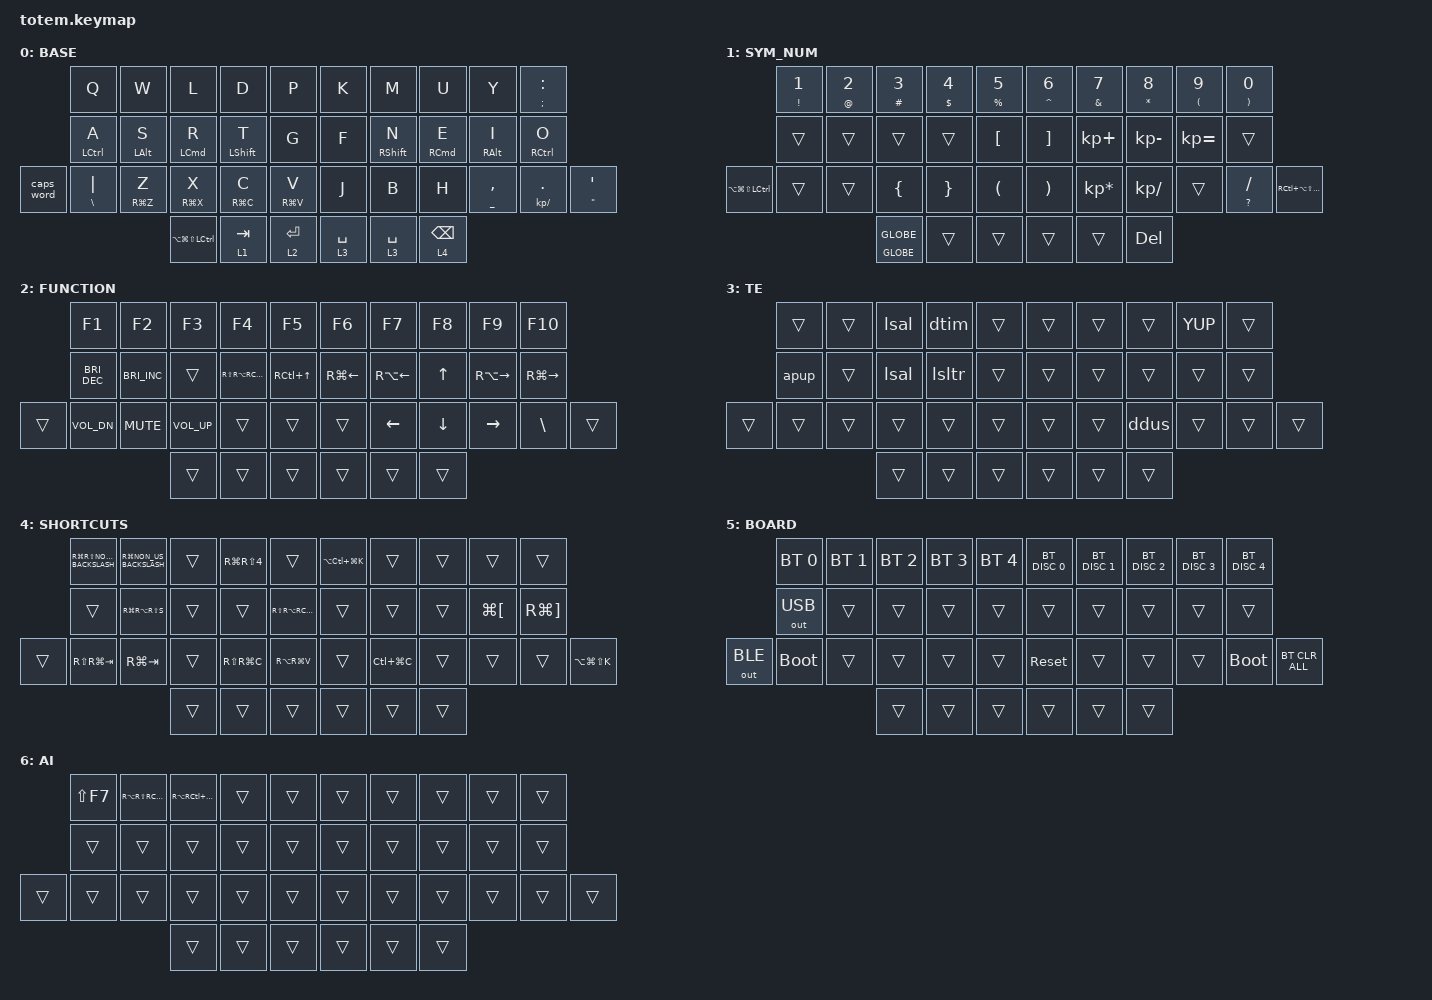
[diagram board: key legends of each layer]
//
//                                                        ▀▀▀▀▀     ▀▀▀▀▀          ▀▀█▀▀
//                                                        ▄▀▀▀▄  ▄  ▄▀▀▀▄  ▄  ▄▀▀▀▄  █  ▄▀▀▀▄
//                                                        █   █  █  █   █  █  █   █  █  █   █
//                                                         ▀▀▀   █   ▀▀▀   █   ▀▀▀   ▀   ▀▀▀
//                                                               █      ▄▄▄█▄▄▄    █   █  
//                                                               ▀      █  █  █     █▄█
//                                                             ▀▀▀▀▀    █  █  █      ▀
//                                                                      ▀  ▀  ▀
//
// ▄▄▄▄▄▄▄▄▄▄▄▄▄▄▄▄▄▄▄▄▄▄▄▄▄▄▄▄▄▄▄▄▄▄▄▄▄▄▄▄▄▄▄▄▄▄▄▄▄▄▄▄▄▄▄▄▄▄▄▄▄▄▄▄▄▄▄▄▄▄▄▄▄▄▄▄▄▄▄▄▄▄▄▄▄▄▄▄▄▄▄▄▄▄▄▄▄▄▄▄▄▄▄▄▄▄▄▄▄▄▄▄▄▄▄▄▄▄▄▄▄▄▄▄▄▄▄▄▄▄▄▄▄▄▄▄▄▄▄▄▄▄▄▄▄▄▄▄▄

#include <behaviors.dtsi>
#include <dt-bindings/zmk/bt.h>
#include <dt-bindings/zmk/keys.h>
#include <dt-bindings/zmk/outputs.h>

#define BASE 0
#define NAV  1
#define SYM  2
#define ADJ  3
#define TVP1 4
#define TVP2 5

&mt {
};

&lt { tapping-term-ms = <200>; };

/ {
    combos {
        compatible = "zmk,combos";

        combo_esc {
            timeout-ms = <50>;
            key-positions = <0 1>;
            bindings = <&kp ESC>;
        };

        AI {
            bindings = <&mo 6>;
            key-positions = <36 37>;
        };

        Board {
            bindings = <&mo 5>;
            key-positions = <34 33>;
        };
    };

    macros {
        YUP: YUP {
            compatible = "zmk,behavior-macro";
            #binding-cells = <0>;
            bindings = <&kp COLON &kp Y &kp U &kp P>;
            label = "YUP";
        };

        apup: apup {
            compatible = "zmk,behavior-macro";
            #binding-cells = <0>;
            bindings = <&kp COLON &kp A &kp P &kp U &kp P>;
            label = "APUP";
        };

        ddus: ddus {
            compatible = "zmk,behavior-macro";
            #binding-cells = <0>;
            bindings = <&kp D &kp D &kp U &kp S>;
            label = "DDUS";
        };

        lsltr: lsltr {
            compatible = "zmk,behavior-macro";
            #binding-cells = <0>;
            bindings = <&kp COLON &kp L &kp T>;
            label = "LSLTR";
        };

        dtim: dtim {
            compatible = "zmk,behavior-macro";
            #binding-cells = <0>;
            bindings = <&kp D &kp T &kp I &kp M>;
            label = "DTIM";
        };

        lsal: lsal {
            compatible = "zmk,behavior-macro";
            #binding-cells = <0>;
            bindings = <&kp COLON &kp L &kp S>;
            label = "LSAL";
        };

        nextapp: nextapp {
            compatible = "zmk,behavior-macro";
            #binding-cells = <0>;
            bindings = <&kp RIGHT_COMMAND &kp TAB>;
            label = "NEXTAPP";
            wait-ms = <0>;
            tap-ms = <200>;
        };

        prevapp: prevapp {
            compatible = "zmk,behavior-macro";
            #binding-cells = <0>;
            bindings = <&kp RIGHT_COMMAND &kp RS(TAB)>;
            label = "PREVAPP";
            wait-ms = <0>;
            tap-ms = <200>;
        };
    };

    behaviors {
        caps_word: caps_word {
            compatible = "zmk,behavior-caps-word";
            label = "CAPS_WORD";
            #binding-cells = <0>;
            continue-list = <UNDERSCORE MINUS BACKSPACE DELETE>;
        };

        longpress: longpress {
            compatible = "zmk,behavior-hold-tap";
            label = "LONGPRESS";
            bindings = <&kp>, <&kp>;

            #binding-cells = <2>;
            tapping-term-ms = <300>;
            quick-tap-ms = <0>;
            flavor = "tap-preferred";
            require-prior-idle-ms = <0>;
        };

        templayer: templayer {
            compatible = "zmk,behavior-toggle-layer";
            label = "TEMPLAYER";
            #binding-cells = <1>;
            toggle-mode = "off";
        };

        HMShiftR: HMShiftR {
            compatible = "zmk,behavior-hold-tap";
            label = "HMSHIFTR";
            bindings = <&kp>, <&kp>;

            #binding-cells = <2>;
            tapping-term-ms = <250>;
            hold-trigger-key-positions = <13 0 1 2 0 1 2 3 10 11 12 13 20 21 22 23 24 32 4 14 25 33 34>;
            hold-while-undecided;
            hold-trigger-on-release;
            flavor = "balanced";
        };

        HMShiftL: HMShiftL {
            compatible = "zmk,behavior-hold-tap";
            label = "HMSHIFTL";
            bindings = <&kp>, <&kp>;

            #binding-cells = <2>;
            tapping-term-ms = <250>;
            hold-while-undecided;
            hold-trigger-on-release;
            hold-trigger-key-positions = <5 6 7 8 9 15 16 17 18 19 26 27 28 29 30 31 35 36 37>;
            flavor = "balanced";
        };

        HMR: HMR {
            compatible = "zmk,behavior-hold-tap";
            label = "HMR";
            bindings = <&kp>, <&kp>;

            #binding-cells = <2>;
            tapping-term-ms = <250>;
            hold-trigger-key-positions = <13 0 1 2 0 1 2 3 10 11 12 13 20 21 22 23 24 32 4 14 25 33 34>;
            hold-while-undecided;
            hold-trigger-on-release;
            flavor = "balanced";
        };

        HML: HML {
            compatible = "zmk,behavior-hold-tap";
            label = "HML";
            bindings = <&kp>, <&kp>;

            #binding-cells = <2>;
            tapping-term-ms = <250>;
            hold-while-undecided;
            hold-trigger-on-release;
            hold-trigger-key-positions = <5 6 7 8 9 15 16 17 18 19 26 27 28 29 30 31 35 36 37>;
            flavor = "balanced";
        };

        TapTickTilde: TapTickTilde {
            compatible = "zmk,behavior-tap-dance";
            label = "TAPTICKTILDE";
            #binding-cells = <0>;
            bindings = <&kp TILDE>, <&kp GRAVE>;
        };

        lt_repeat: lt_repeat {
            compatible = "zmk,behavior-hold-tap";
            label = "LT_REPEAT";
            bindings = <&mo>, <&kp>;

            #binding-cells = <2>;
            tapping-term-ms = <200>;
            quick-tap-ms = <200>;
            flavor = "tap-preferred";
        };
    };

    keymap {
        compatible = "zmk,keymap";

        // ▄▄▄▄▄▄▄▄▄▄▄▄▄▄▄▄▄▄▄▄▄▄▄▄▄▄▄▄▄▄▄▄▄▄▄▄▄▄▄▄▄▄▄▄▄▄▄▄▄▄▄▄▄▄▄▄▄▄▄▄▄▄▄▄▄▄▄▄▄▄▄▄▄▄▄▄▄▄▄▄▄▄▄▄▄▄▄▄▄▄▄▄▄▄▄▄▄▄▄▄▄▄▄▄▄▄▄▄▄▄▄▄▄▄▄▄▄▄▄▄▄▄▄▄▄▄▄▄▄▄▄▄▄▄▄▄▄▄▄▄▄▄▄▄▄▄▄▄▄

        base_layer {
            // ┏━━━━━━━━━━━━━━━━━━━━━━━━━━━━━━━━━━━━━━━┓

            label = "BASE";

            // ┗━━━━━━━━━━━━━━━━━━━━━━━━━━━━━━━━━━━━━━━┛
            //             ┏━━━━━━━━━━━┳━━━━━━━━━━━┳━━━━━━━━━━━┳━━━━━━━━━━━┳━━━━━━━━━━━┓   ┏━━━━━━━━━━━┳━━━━━━━━━━━┳━━━━━━━━━━━┳━━━━━━━━━━━┳━━━━━━━━━━━┓
            //             ┃     Q     ┃     W     ┃     F     ┃     P     ┃     G     ┃   ┃     J     ┃     L     ┃     U     ┃     Y     ┃     ;     ┃
            //             ┣━━━━━━━━━━━╋━━━━━━━━━━━╋━━━━━━━━━━━╋━━━━━━━━━━━╋━━━━━━━━━━━┫   ┣━━━━━━━━━━━╋━━━━━━━━━━━╋━━━━━━━━━━━╋━━━━━━━━━━━╋━━━━━━━━━━━┫
            //             ┃     A     ┃     R     ┃     S     ┃     T     ┃     D     ┃   ┃     H     ┃     N     ┃     E     ┃     I     ┃     O     ┃
            // ┏━━━━━━━━━━━╋━━━━━━━━━━━╋━━━━━━━━━━━╋━━━━━━━━━━━╋━━━━━━━━━━━╋━━━━━━━━━━━┫   ┣━━━━━━━━━━━╋━━━━━━━━━━━╋━━━━━━━━━━━╋━━━━━━━━━━━╋━━━━━━━━━━━╋━━━━━━━━━━━┓
            // ┃     Q     ┃     Z     ┃     X     ┃     C     ┃     V     ┃     B     ┃   ┃     K     ┃     M     ┃     ,     ┃     .     ┃     /     ┃     \     ┃
            // ┗━━━━━━━━━━━┻━━━━━━━━━━━┻━━━━━━━━━━━╋━━━━━━━━━━━╋━━━━━━━━━━━╋━━━━━━━━━━━┫   ┣━━━━━━━━━━━╋━━━━━━━━━━━╋━━━━━━━━━━━╋━━━━━━━━━━━┻━━━━━━━━━━━┻━━━━━━━━━━━┛
            //                                     ┃    DEL    ┃    TAB    ┃    SPC    ┃   ┃   ENTER   ┃           ┃   BSPC    ┃
            //                                     ┗━━━━━━━━━━━┻━━━━━━━━━━━┻━━━━━━━━━━━┛   ┗━━━━━━━━━━━┻━━━━━━━━━━━┻━━━━━━━━━━━┛

            bindings = <
            &kp Q                      &kp W        &kp L                         &kp D              &kp P                  &kp K               &kp M               &kp U                   &kp Y                   &longpress SEMICOLON COLON
            &HML LEFT_CONTROL A        &HML LALT S  &HML LEFT_COMMAND R           &HMShiftL LSHFT T  &kp G                  &kp F               &HMR RSHFT N        &HMR RIGHT_COMMAND E    &HMR RALT I             &HMR RIGHT_CONTROL O
&caps_word  &longpress BACKSLASH PIPE  &mt RG(Z) Z  &mt RG(X) X                   &mt RG(C) C        &mt RG(V) V            &kp J               &kp B               &kp H                   &longpress UNDER COMMA  &longpress KP_SLASH PERIOD  &longpress DOUBLE_QUOTES SQT
                                                    &kp LA(LG(LS(LEFT_CONTROL)))  &lt_repeat 1 TAB   &lt_repeat 2 RETURN    &lt_repeat 3 SPACE  &lt_repeat 3 SPACE  &lt_repeat 4 BACKSPACE
            >;
        };

        sym_num {
            // ┏━━━━━━━━━━━━━━━━━━━━━━━━━━━━━━━━━━━━━━━┓

            label = "SYM_NUM";

            // ┗━━━━━━━━━━━━━━━━━━━━━━━━━━━━━━━━━━━━━━━┛
            //             ┏━━━━━━━━━━━┳━━━━━━━━━━━┳━━━━━━━━━━━┳━━━━━━━━━━━┳━━━━━━━━━━━┓   ┏━━━━━━━━━━━┳━━━━━━━━━━━┳━━━━━━━━━━━┳━━━━━━━━━━━┳━━━━━━━━━━━┓
            //             ┃           ┃           ┃     UP    ┃           ┃     {     ┃   ┃     }     ┃     7     ┃     8     ┃     9     ┃     +     ┃
            //             ┣━━━━━━━━━━━╋━━━━━━━━━━━╋━━━━━━━━━━━╋━━━━━━━━━━━╋━━━━━━━━━━━┫   ┣━━━━━━━━━━━╋━━━━━━━━━━━╋━━━━━━━━━━━╋━━━━━━━━━━━╋━━━━━━━━━━━┫
            //             ┃   SHIFT   ┃   LEFT    ┃    DOWN   ┃   RIGHT   ┃     [     ┃   ┃     ]     ┃     4     ┃     5     ┃     6     ┃     -     ┃
            // ┏━━━━━━━━━━━╋━━━━━━━━━━━╋━━━━━━━━━━━╋━━━━━━━━━━━╋━━━━━━━━━━━╋━━━━━━━━━━━┫   ┣━━━━━━━━━━━╋━━━━━━━━━━━╋━━━━━━━━━━━╋━━━━━━━━━━━╋━━━━━━━━━━━╋━━━━━━━━━━━┓
            // ┃           ┃           ┃   P UP    ┃  C LOCK   ┃  P DOWN   ┃     (     ┃   ┃     )     ┃     1     ┃     2     ┃     3     ┃     *     ┃           ┃
            // ┗━━━━━━━━━━━┻━━━━━━━━━━━┻━━━━━━━━━━━╋━━━━━━━━━━━╋━━━━━━━━━━━╋━━━━━━━━━━━┫   ┣━━━━━━━━━━━╋━━━━━━━━━━━╋━━━━━━━━━━━╋━━━━━━━━━━━┻━━━━━━━━━━━┻━━━━━━━━━━━┛
            //                                     ┃           ┃    TAB    ┃    SPC    ┃   ┃    DEL    ┃     0     ┃           ┃
            //                                     ┗━━━━━━━━━━━┻━━━━━━━━━━━┻━━━━━━━━━━━┛   ┗━━━━━━━━━━━┻━━━━━━━━━━━┻━━━━━━━━━━━┛

            bindings = <
                              &longpress EXCLAMATION NUMBER_1  &longpress AT NUMBER_2  &longpress HASH NUMBER_3  &longpress DOLLAR NUMBER_4  &longpress PERCENT N5    &longpress CARET NUMBER_6  &longpress AMPERSAND N7  &longpress STAR N8  &longpress LEFT_PARENTHESIS N9  &longpress RIGHT_PARENTHESIS N0
                              &trans                           &trans                  &trans                    &trans                      &kp LBKT                 &kp RIGHT_BRACKET          &kp KP_PLUS              &kp KP_SUBTRACT     &kp KP_EQUAL                    &trans
&kp LA(LG(LS(LEFT_CONTROL)))  &trans                           &trans                  &kp LEFT_BRACE            &kp RIGHT_BRACE             &kp LPAR                 &kp RPAR                   &kp KP_MULTIPLY          &kp KP_DIVIDE       &trans                          &longpress QUESTION SLASH        &kp RC(LA(LS(RIGHT_CONTROL)))
                                                                                       &mt GLOBE GLOBE           &trans                      &trans                   &trans                     &trans                   &kp DELETE
            >;
        };

        function {
            // ┏━━━━━━━━━━━━━━━━━━━━━━━━━━━━━━━━━━━━━━━┓

            label = "FUNCTION";

            // ┗━━━━━━━━━━━━━━━━━━━━━━━━━━━━━━━━━━━━━━━┛
            //             ┏━━━━━━━━━━━┳━━━━━━━━━━━┳━━━━━━━━━━━┳━━━━━━━━━━━┳━━━━━━━━━━━┓   ┏━━━━━━━━━━━┳━━━━━━━━━━━┳━━━━━━━━━━━┳━━━━━━━━━━━┳━━━━━━━━━━━┓
            //             ┃     !     ┃     @     ┃     #     ┃     $     ┃     %     ┃   ┃     ˆ     ┃     &     ┃     Ü     ┃     '     ┃     "     ┃
            //             ┣━━━━━━━━━━━╋━━━━━━━━━━━╋━━━━━━━━━━━╋━━━━━━━━━━━╋━━━━━━━━━━━┫   ┣━━━━━━━━━━━╋━━━━━━━━━━━╋━━━━━━━━━━━╋━━━━━━━━━━━╋━━━━━━━━━━━┫
            //             ┃     Ä     ┃           ┃    SZ     ┃           ┃           ┃   ┃   MUTE    ┃   YEN     ┃   EURO    ┃  POUND    ┃     Ö     ┃
            // ┏━━━━━━━━━━━╋━━━━━━━━━━━╋━━━━━━━━━━━╋━━━━━━━━━━━╋━━━━━━━━━━━╋━━━━━━━━━━━┫   ┣━━━━━━━━━━━╋━━━━━━━━━━━╋━━━━━━━━━━━╋━━━━━━━━━━━╋━━━━━━━━━━━╋━━━━━━━━━━━┓
            // ┃           ┃  EMAIL1   ┃  EMAIL2   ┃           ┃           ┃           ┃   ┃   VOL-    ┃   VOL+    ┃   LAST    ┃   NEXT    ┃     \     ┃           ┃
            // ┗━━━━━━━━━━━┻━━━━━━━━━━━┻━━━━━━━━━━━╋━━━━━━━━━━━╋━━━━━━━━━━━╋━━━━━━━━━━━┫   ┣━━━━━━━━━━━╋━━━━━━━━━━━╋━━━━━━━━━━━╋━━━━━━━━━━━┻━━━━━━━━━━━┻━━━━━━━━━━━┛
            //                                     ┃           ┃    GIF    ┃    ADJ    ┃   ┃           ┃           ┃           ┃
            //                                     ┗━━━━━━━━━━━┻━━━━━━━━━━━┻━━━━━━━━━━━┛   ┗━━━━━━━━━━━┻━━━━━━━━━━━┻━━━━━━━━━━━┛

            bindings = <
        &kp F1                &kp F2                &kp F3           &kp F4                 &kp F5              &kp F6              &kp F7              &kp F8          &kp F9               &kp F10
        &kp C_BRIGHTNESS_DEC  &kp C_BRIGHTNESS_INC  &trans           &kp RS(RA(RC(RG(F))))  &kp RC(UP_ARROW)    &kp RG(LEFT_ARROW)  &kp RA(LEFT_ARROW)  &kp UP_ARROW    &kp RA(RIGHT_ARROW)  &kp RG(RIGHT_ARROW)
&trans  &kp C_VOL_DN          &kp K_MUTE            &kp C_VOLUME_UP  &trans                 &trans              &trans              &kp LEFT_ARROW      &kp DOWN_ARROW  &kp RIGHT            &kp BSLH             &trans
                                                    &trans           &trans                 &trans              &trans              &trans              &trans
            >;
        };

        te {
            // ┏━━━━━━━━━━━━━━━━━━━━━━━━━━━━━━━━━━━━━━━┓

            label = "TE";

            // ┗━━━━━━━━━━━━━━━━━━━━━━━━━━━━━━━━━━━━━━━┛
            //             ┏━━━━━━━━━━━┳━━━━━━━━━━━┳━━━━━━━━━━━┳━━━━━━━━━━━┳━━━━━━━━━━━┓   ┏━━━━━━━━━━━┳━━━━━━━━━━━┳━━━━━━━━━━━┳━━━━━━━━━━━┳━━━━━━━━━━━┓
            //             ┃   RESET   ┃ BT CLEAR  ┃  OUT TOG  ┃           ┃           ┃   ┃           ┃    F7     ┃    F8     ┃    F9     ┃    F12    ┃
            //             ┣━━━━━━━━━━━╋━━━━━━━━━━━╋━━━━━━━━━━━╋━━━━━━━━━━━╋━━━━━━━━━━━┫   ┣━━━━━━━━━━━╋━━━━━━━━━━━╋━━━━━━━━━━━╋━━━━━━━━━━━╋━━━━━━━━━━━┫
            //             ┃ BOOTLOAD  ┃ BT NEXT   ┃           ┃           ┃           ┃   ┃           ┃    F4     ┃    F5     ┃    F6     ┃    F11    ┃
            // ┏━━━━━━━━━━━╋━━━━━━━━━━━╋━━━━━━━━━━━╋━━━━━━━━━━━╋━━━━━━━━━━━╋━━━━━━━━━━━┫   ┣━━━━━━━━━━━╋━━━━━━━━━━━╋━━━━━━━━━━━╋━━━━━━━━━━━╋━━━━━━━━━━━╋━━━━━━━━━━━┓
            // ┃           ┃           ┃ BT PREV   ┃           ┃           ┃           ┃   ┃           ┃    F1     ┃    F2     ┃    F3     ┃    F10    ┃           ┃
            // ┗━━━━━━━━━━━┻━━━━━━━━━━━┻━━━━━━━━━━━╋━━━━━━━━━━━╋━━━━━━━━━━━╋━━━━━━━━━━━┫   ┣━━━━━━━━━━━╋━━━━━━━━━━━╋━━━━━━━━━━━╋━━━━━━━━━━━┻━━━━━━━━━━━┻━━━━━━━━━━━┛
            //                                     ┃           ┃           ┃           ┃   ┃           ┃           ┃           ┃
            //                                     ┗━━━━━━━━━━━┻━━━━━━━━━━━┻━━━━━━━━━━━┛   ┗━━━━━━━━━━━┻━━━━━━━━━━━┻━━━━━━━━━━━┛

            bindings = <
        &trans  &trans  &lsal   &dtim   &trans    &trans  &trans  &trans  &YUP    &trans
        &apup   &trans  &lsal   &lsltr  &trans    &trans  &trans  &trans  &trans  &trans
&trans  &trans  &trans  &trans  &trans  &trans    &trans  &trans  &ddus   &trans  &trans  &trans
                        &trans  &trans  &trans    &trans  &trans  &trans
            >;
        };

        shortcuts {
            bindings = <
        &kp RG(RS(NON_US_BACKSLASH))  &kp RG(NON_US_BACKSLASH)  &trans  &kp RG(RS(NUMBER_4))  &trans                   &kp LA(LC(LG(K)))  &trans         &trans  &trans        &trans
        &trans                        &kp RG(RA(RS(S)))         &trans  &trans                &kp RS(RA(RC(RG(C))))    &trans             &trans         &trans  &kp LG(LBKT)  &kp RG(RBKT)
&trans  &kp RS(RG(TAB))               &kp RG(TAB)               &trans  &kp RS(RG(C))         &kp RA(RG(V))            &trans             &kp LC(LG(C))  &trans  &trans        &trans        &kp LA(LG(LS(K)))
                                                                &trans  &trans                &trans                   &trans             &trans         &trans
            >;

            label = "SHORTCUTS";
        };

        board {
            // ┏━━━━━━━━━━━━━━━━━━━━━━━━━━━━━━━━━━━━━━━┓

            label = "BOARD";

            // ┗━━━━━━━━━━━━━━━━━━━━━━━━━━━━━━━━━━━━━━━┛
            //             ┏━━━━━━━━━━━┳━━━━━━━━━━━┳━━━━━━━━━━━┳━━━━━━━━━━━┳━━━━━━━━━━━┓   ┏━━━━━━━━━━━┳━━━━━━━━━━━┳━━━━━━━━━━━┳━━━━━━━━━━━┳━━━━━━━━━━━┓
            //             ┃ NEXT FILE ┃ MARK IN   ┃ ROTATE    ┃ MARK OUT  ┃ SHOW SNAP ┃   ┃           ┃           ┃           ┃           ┃           ┃
            //             ┣━━━━━━━━━━━╋━━━━━━━━━━━╋━━━━━━━━━━━╋━━━━━━━━━━━╋━━━━━━━━━━━┫   ┣━━━━━━━━━━━╋━━━━━━━━━━━╋━━━━━━━━━━━╋━━━━━━━━━━━╋━━━━━━━━━━━┫
            //             ┃ TVP II    ┃ LEFT      ┃ PAN       ┃ RIGHT     ┃ PLAY/FLIP ┃   ┃           ┃           ┃           ┃           ┃           ┃
            // ┏━━━━━━━━━━━╋━━━━━━━━━━━╋━━━━━━━━━━━╋━━━━━━━━━━━╋━━━━━━━━━━━╋━━━━━━━━━━━┫   ┣━━━━━━━━━━━╋━━━━━━━━━━━╋━━━━━━━━━━━╋━━━━━━━━━━━╋━━━━━━━━━━━╋━━━━━━━━━━━┓
            // ┃ FULLSCR   ┃ SHIFT     ┃ COPY      ┃ DELETE    ┃ PASTE     ┃ IMG MARK  ┃   ┃           ┃           ┃           ┃           ┃           ┃           ┃
            // ┗━━━━━━━━━━━┻━━━━━━━━━━━┻━━━━━━━━━━━╋━━━━━━━━━━━╋━━━━━━━━━━━╋━━━━━━━━━━━┫   ┣━━━━━━━━━━━╋━━━━━━━━━━━╋━━━━━━━━━━━╋━━━━━━━━━━━┻━━━━━━━━━━━┻━━━━━━━━━━━┛
            //                                     ┃           ┃ UNDO/SAVE ┃  SEL/MOV  ┃   ┃           ┃           ┃           ┃
            //                                     ┗━━━━━━━━━━━┻━━━━━━━━━━━┻━━━━━━━━━━━┛   ┗━━━━━━━━━━━┻━━━━━━━━━━━┻━━━━━━━━━━━┛

            bindings = <
              &bt BT_SEL 0  &bt BT_SEL 1  &bt BT_SEL 2  &bt BT_SEL 3  &bt BT_SEL 4    &bt BT_DISC 0  &bt BT_DISC 1  &bt BT_DISC 2  &bt BT_DISC 3  &bt BT_DISC 4
              &out OUT_USB  &trans        &trans        &trans        &trans          &trans         &trans         &trans         &trans         &trans
&out OUT_BLE  &bootloader   &trans        &trans        &trans        &trans          &sys_reset     &trans         &trans         &trans         &bootloader    &bt BT_CLR_ALL
                                          &trans        &trans        &trans          &trans         &trans         &trans
            >;
        };

        ai {
            bindings = <
        &kp LS(F7)  &kp RA(RS(RC(A)))  &kp RA(RC(RS(B)))  &trans  &trans    &trans  &trans  &trans  &trans  &trans
        &trans      &trans             &trans             &trans  &trans    &trans  &trans  &trans  &trans  &trans
&trans  &trans      &trans             &trans             &trans  &trans    &trans  &trans  &trans  &trans  &trans  &trans
                                       &trans             &trans  &trans    &trans  &trans  &trans
            >;

            label = "AI";
        };
    };
};
